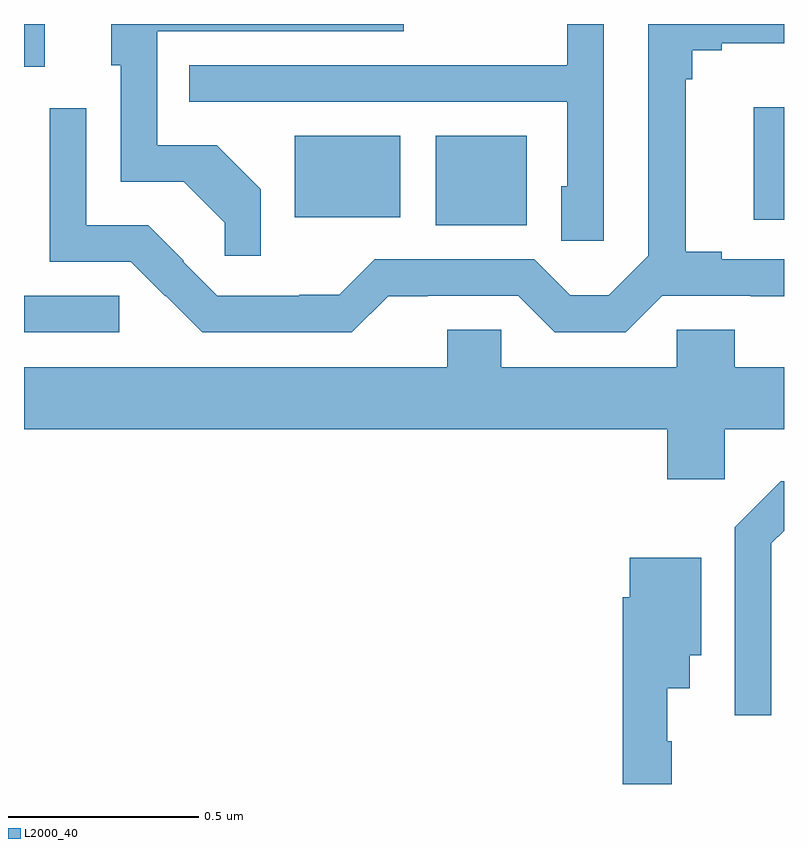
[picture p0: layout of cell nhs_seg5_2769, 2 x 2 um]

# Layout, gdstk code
import gdstk
lib = gdstk.Library(unit=1e-6, precision=1e-09)
def R(c, l, rs):  # rectangles x0, y0, x1, y1
    for r in rs: c.add(gdstk.rectangle(r[:2], r[2:], *l))
def P(c, l, *ps):  # polygons
    for p in ps: c.add(gdstk.Polygon(p, *l))
L2000_40 = (2000, 40)

nhs_seg5_2769 = lib.new_cell('nhs_seg5_2769')
R(nhs_seg5_2769, L2000_40, [(148,884.988,148.251,885.084), (149.084,885.269,149.323,885.505), (149.921,885.284,150,885.58), (148.712,885.29,148.99,885.505), (148,885.686,148.054,885.799)])
P(nhs_seg5_2769, L2000_40, [(149.526,885.799),(149.429,885.799),(149.429,885.691),(149.095,885.691),(149.095,885.69),(148.435,885.69),(148.435,885.594),(149.43,885.594),(149.43,885.372),(149.414,885.372),(149.414,885.229),(149.526,885.229)],
  [(148.958,885.083),(149.062,885.083),(149.062,885.084),(149.301,885.084),(149.397,884.988),(149.584,884.988),(149.68,885.084),(149.913,885.084),(149.913,885.083),(150,885.083),(150,885.18),(149.836,885.18),(149.836,885.2),(149.741,885.2),(149.741,885.653),(149.759,885.653),(149.759,885.73),(149.836,885.73),(149.836,885.749),(150,885.749),(150,885.799),(149.643,885.799),(149.643,885.189),(149.539,885.085),(149.438,885.085),(149.343,885.18),(148.923,885.18),(148.829,885.086),(148.724,885.086),(148.724,885.084),(148.509,885.084),(148.419,885.174),(148.421,885.176),(148.327,885.27),(148.164,885.27),(148.164,885.577),(148.068,885.577),(148.068,885.174),(148.281,885.174),(148.372,885.083),(148.373,885.084),(148.469,884.988),(148.863,884.988)],
  [(148.623,885.364),(148.507,885.48),(148.35,885.48),(148.35,885.78),(148.999,885.78),(148.999,885.799),(148.229,885.799),(148.229,885.69),(148.254,885.69),(148.254,885.384),(148.42,885.384),(148.528,885.276),(148.528,885.189),(148.623,885.189)],
  [(149.844,884.732),(150,884.732),(150,884.896),(149.87,884.896),(149.87,884.994),(149.718,884.994),(149.718,884.896),(149.256,884.896),(149.256,884.994),(149.114,884.994),(149.114,884.896),(148,884.896),(148,884.732),(149.693,884.732),(149.693,884.601),(149.844,884.601)],
  [(149.967,884.433),(150,884.466),(150,884.596),(149.992,884.596),(149.871,884.475),(149.871,883.98),(149.967,883.98)],
  [(149.704,883.911),(149.693,883.911),(149.693,884.051),(149.752,884.051),(149.752,884.138),(149.782,884.138),(149.782,884.395),(149.594,884.395),(149.594,884.291),(149.575,884.291),(149.575,883.799),(149.704,883.799)])

lib.write_gds('nhs_seg5_2769.gds')
